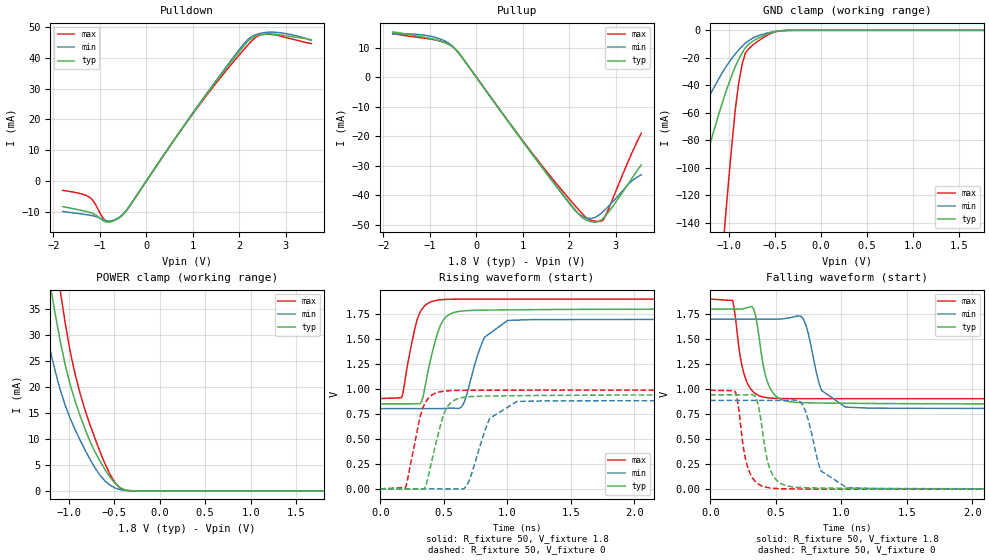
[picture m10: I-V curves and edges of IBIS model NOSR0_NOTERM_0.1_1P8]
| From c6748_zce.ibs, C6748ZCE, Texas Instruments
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|   Model Cell NOSR0_NOTERM_0.1_1P8
|NOSR0_NOTERM_0.1_1P8
[Model]   NOSR0_NOTERM_0.1_1P8
Model_type   3-state
Polarity   Non-Inverting
Enable   Active-Low
Cref =  15.0000pF
Rref =  100.0000M
Vref =  0V
Vmeas =  0.9
C_comp   3.009089p   2.23501p   3.95018p
[Temperature Range]   25   125   -40
[Voltage Range]   1.8   1.7   1.9
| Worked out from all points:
|   slope of the pulldown table from 0 to 0.27 V, typ, clamps not added: 44.1 ohm
|   slope of the pullup table from 0 to 0.27 V, typ, clamps not added: 45.3 ohm
|   GND clamp passes 1 mA (typ) near -0.50 V on its own axis
|   POWER clamp passes 1 mA (typ) near -0.46 V on its own axis
|   rising waveform, R_fixture 50, V_fixture 1.8: 20-80 % time 110ps typ, 134ps min, 95.7ps max; typ from 0.851 V to 1.8 V
|   rising waveform, R_fixture 50, V_fixture 0: 20-80 % time 113ps typ, 139ps min, 99.3ps max; typ from 0 V to 0.942 V
|   falling waveform, R_fixture 50, V_fixture 1.8: 20-80 % time 83.4ps typ, 98.5ps min, 76.6ps max; typ from 1.8 V to 0.851 V
|   falling waveform, R_fixture 50, V_fixture 0: 20-80 % time 81.1ps typ, 105ps min, 73.3ps max; typ from 0.942 V to 0 V
[POWER_clamp]
|   voltage   I(typ)   I(min)   I(max)
-1.8V     107.1mA    82.35mA    134.1mA
-1.327V   53.28mA    37.61mA    69.48mA
-1.182V   37.78mA    25.71mA    50.1mA
-1.091V   28.94mA    19.51mA    38.64mA
-1.073V   27.41mA    18.51mA    36.54mA
-981.8mV  20.5mA     14.01mA    26.92mA
-872.7mV  14.5mA     9.783mA    18.82mA
-709.1mV  7.513mA    4.449mA    10.09mA
-545.5mV  2.674mA    1.139mA    3.211mA
-436.4mV  654.9uA    255.5uA    594.1uA
-327.3mV  54.9uA     31.45uA    28.9uA
1.8V      5.504nA    121.3nA    1.604nA
[Pulldown]
|   voltage   I(typ)   I(min)   I(max)
-1.8V     -8.351mA   -9.956mA   -3.097mA
-1.2V     -10.35mA   -11.23mA   -5.575mA
-872.7mV  -13.35mA   -12.93mA   -13.07mA
-763.6mV  -13.31mA   -13.05mA   -13.22mA
-600mV    -12.16mA   -11.98mA   -12.14mA
-381.8mV  -8.669mA   -8.593mA   -8.643mA
1.145V    25.19mA    25.27mA    24.87mA
2.182V    45.44mA    46.03mA    44.25mA
2.345V    47.19mA    47.58mA    46.72mA
2.564V    47.83mA    48.35mA    47.74mA
3V        47.27mA    47.96mA    46.66mA
3.545V    45.94mA    45.74mA    44.7mA
[Pullup]
|   voltage   I(typ)   I(min)   I(max)
-1.8V     15.34mA    14.64mA    14.75mA
-981.8mV  13.15mA    13.91mA    12.94mA
-709.1mV  11.92mA    12.55mA    11.92mA
-490.9mV  10.05mA    10.24mA    10.12mA
1.145V    -24.96mA   -24.87mA   -24.59mA
2.018V    -42.87mA   -43.22mA   -41.64mA
2.236V    -46.95mA   -46.75mA   -45.58mA
2.455V    -48.93mA   -47.86mA   -48.45mA
2.618V    -48.93mA   -46.89mA   -48.85mA
2.727V    -47.76mA   -45.48mA   -48.34mA
3.273V    -35.91mA   -36.16mA   -28.15mA
3.545V    -29.71mA   -33.05mA   -18.91mA
[GND_clamp]
|   voltage   I(typ)   I(min)   I(max)
-1.8V     -229.3mA   -132mA     -818.5mA
-1.436V   -139.1mA   -79.12mA   -490.7mA
-1.073V   -53.39mA   -31.17mA   -167.2mA
-1.036V   -45.75mA   -27.16mA   -136.8mA
-927.3mV  -26.08mA   -17mA      -56.49mA
-890.9mV  -20.9mA    -14.21mA   -38.02mA
-854.5mV  -16.38mA   -11.64mA   -24.6mA
-818.2mV  -12.5mA    -9.275mA   -16.24mA
-709.1mV  -6.663mA   -4.641mA   -9.157mA
-527.3mV  -1.534mA   -1.158mA   -1.867mA
-381.8mV  -101.4uA   -119.7uA   -85.8uA
1.764V    4.755nA    203.2nA    1.222nA
[Ramp]
| variable   typ   min   max
dV/dt_f  0.5840345/83.79068p   0.5572725/99.27829p   0.6099212/76.90753p
dV/dt_r  0.5671716/0.1130405n  0.5337733/0.1375247n  0.5950157/99.4285p
R_load = 50
[Rising Waveform]
R_fixture = 50
V_fixture = 1.8
V_fixture_min = 1.7
V_fixture_max = 1.9
|   time   V(typ)   V(min)   V(max)
0s        851mV      803.4mV    903.9mV
167.2ps   851mV      803.4mV    912.7mV
270.4ps   852.8mV    803.4mV    1.592V
316.8ps   858mV      803.4mV    1.775V
455.2ps   1.574V     802.9mV    1.89V
517.6ps   1.722V     805.7mV    1.896V
642.4ps   1.78V      824.1mV    1.899V
820.8ps   1.79V      1.517V     1.9V
1.003ns   1.792V     1.686V     1.9V
5.21ns    1.8V       1.698V     1.9V
[Rising Waveform]
R_fixture = 50
V_fixture = 0
V_fixture_min = 0
V_fixture_max = 0
|   time   V(typ)   V(min)   V(max)
0s        84.48nV    277.7nV    33.22nV
199.2ps   48.86nV    347.5nV    13.56mV
307.2ps   -836.1uV   -523.8nV   683.5mV
345.6ps   2.676mV    1.624uV    841mV
500.8ps   749.2mV    -945.5uV   977.5mV
572.8ps   880.2mV    -433.9uV   984mV
680.8ps   920.3mV    31.71mV    986.5mV
861.6ps   929.6mV    705.8mV    987.4mV
1.077ns   933mV      875.4mV    987.8mV
6.031ns   942mV      885.5mV    988.3mV
[Falling Waveform]
R_fixture = 50
V_fixture = 1.8
V_fixture_min = 1.7
V_fixture_max = 1.9
|   time   V(typ)   V(min)   V(max)
0s        1.8V       1.7V       1.9V
170.4ps   1.8V       1.7V       1.886V
244ps     1.802V     1.7V       1.223V
321.6ps   1.82V      1.7V       981.1mV
426.4ps   1.113V     1.7V       915.6mV
525.6ps   907.4mV    1.7V       906.3mV
708ps     864.4mV    1.706V     904.5mV
850.4ps   860.7mV    986.1mV    904.3mV
1.032ns   858.3mV    820.3mV    904.2mV
5.22ns    851mV      805.1mV    903.9mV
[Falling Waveform]
R_fixture = 50
V_fixture = 0
V_fixture_min = 0
V_fixture_max = 0
|   time   V(typ)   V(min)   V(max)
0s        942mV      887.2mV    988.3mV
190.4ps   942mV      887.2mV    973.6mV
268.8ps   941.9mV    887.2mV    304.4mV
340.8ps   931.7mV    887.2mV    80.66mV
458.4ps   192.6mV    887.2mV    12.11mV
690.4ps   16.74mV    868.5mV    1.816mV
748ps     13.99mV    691mV      1.421mV
844.8ps   11.51mV    181.8mV    969.4uV
1.044ns   8.467mV    13.93mV    440.1uV
5.629ns   84.48uV    1.701mV    30.97nV
